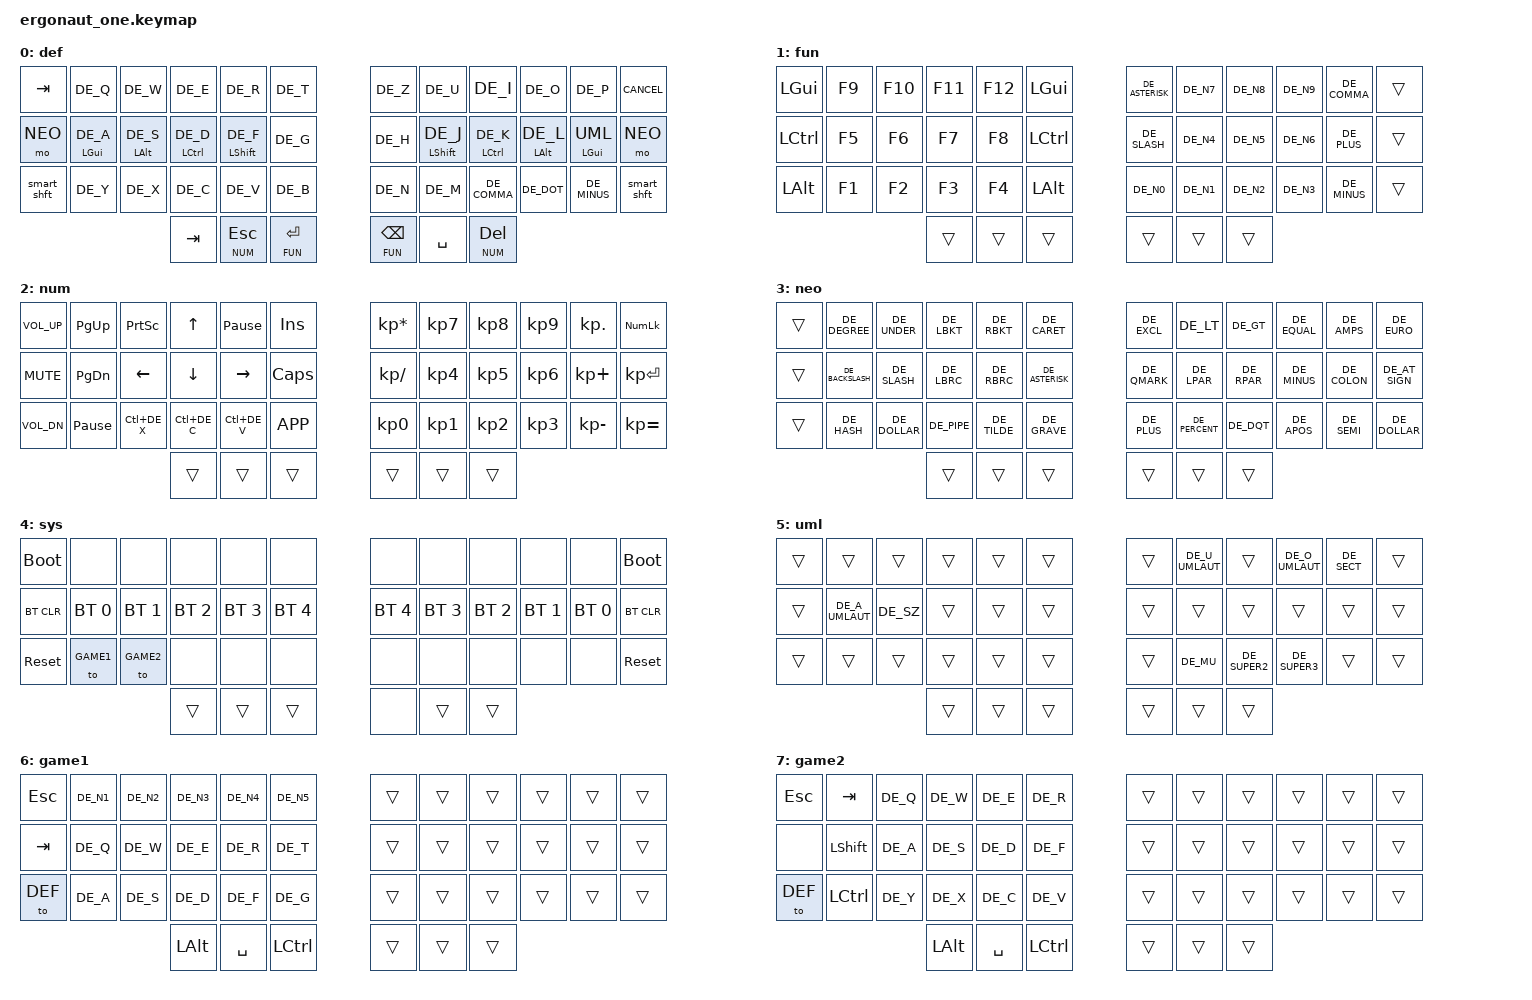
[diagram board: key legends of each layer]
#ifndef KEYMAP_DRAWER
#include "keys_de.h"
#endif

#include <behaviors.dtsi>
#include <dt-bindings/zmk/bt.h>
#include <dt-bindings/zmk/keys.h>
#include "zmk-helpers/helper.h"
#include "zmk-helpers/key-labels/42.h"

//-------------------------------------------------------------------------------------------------------------------//
//              Layer definitions                                                                                    //
//-------------------------------------------------------------------------------------------------------------------//

#define DEF 0
#define FUN 1
#define NUM 2
#define NEO 3
#define SYS 4
#define UML 5
#define GAME1 6
#define GAME2 7

//-------------------------------------------------------------------------------------------------------------------//
//              Global configuration                                                                                 //
//-------------------------------------------------------------------------------------------------------------------//

&lt {
    flavor = "balanced";
    tapping-term-ms = <200>;
    quick-tap-ms = <175>;
};

&mt { quick-tap-ms = <200>; };

//-------------------------------------------------------------------------------------------------------------------//
//              Homerow mods                                                                                         //
//-------------------------------------------------------------------------------------------------------------------//

#define KEYS_L LT0 LT1 LT2 LT3 LT4 LT5 LM0 LM1 LM2 LM3 LM4 LM5 LB0 LB1 LB2 LB3 LB4 LB5 // left hand
#define KEYS_R RT0 RT1 RT2 RT3 RT4 RT5 RM0 RM1 RM2 RM3 RM4 RM5 RB0 RB1 RB2 RB3 RB4 RB5 // right hand
#define THUMBS LH2 LH1 LH0 RH0 RH1 RH2                                                 // thumbs

#define MAKE_HRM(NAME, HOLD, TAP, TRIGGER_POS)               \
    ZMK_HOLD_TAP(NAME,                                       \
                 flavor = "balanced";                        \
                 tapping-term-ms = <280>;                    \
                 quick-tap-ms = <175>;                       \
                 require-prior-idle-ms = <150>;              \
                 bindings = <HOLD>, <TAP>;                   \
                 hold-trigger-key-positions = <TRIGGER_POS>; \
                 hold-trigger-on-release;                    \
                 )

MAKE_HRM(hml, &kp, &kp, KEYS_R THUMBS) // left-hand HRMs
MAKE_HRM(hmr, &kp, &kp, KEYS_L THUMBS) // right-hand HRMs

MAKE_HRM(hmr_sl, &kp, &sl, KEYS_L THUMBS)

//-------------------------------------------------------------------------------------------------------------------//
//              Smart shift, tap dance                                                                               //
//-------------------------------------------------------------------------------------------------------------------//

// tap: sticky-shift | shift + tap/ double-tap: caps-word | hold: shift
&caps_word {
    continue-list = <DE_UNDER DE_MINUS BSPC>;
};
ZMK_MOD_MORPH(smart_shft,
    bindings = <&sk LSHFT>, <&caps_word>;
    mods = <(MOD_LSFT)>;
)

//-------------------------------------------------------------------------------------------------------------------//
//              Layout                                                                                               //
//-------------------------------------------------------------------------------------------------------------------//

ZMK_CONDITIONAL_LAYER(FUN NUM, SYS)

ZMK_LAYER(def,
// ╭──────────────────┬──────────────────┬──────────────────┬──────────────────┬──────────────────┬──────────────────╮   ╭──────────────────┬──────────────────┬──────────────────┬──────────────────┬──────────────────┬──────────────────╮
    &kp TAB            &kp DE_Q           &kp DE_W           &kp DE_E           &kp DE_R           &kp DE_T               &kp DE_Z           &kp DE_U           &kp DE_I           &kp DE_O           &kp DE_P           &kp K_CANCEL
// ├──────────────────┼──────────────────┼──────────────────┼──────────────────┼──────────────────┼──────────────────┤   ├──────────────────┼──────────────────┼──────────────────┼──────────────────┼──────────────────┼──────────────────┤
    &mo NEO            &hml LGUI DE_A     &hml LALT DE_S     &hml LCTRL DE_D    &hml LSHFT DE_F    &kp DE_G               &kp DE_H           &hmr LSHFT DE_J    &hmr LCTRL DE_K    &hmr LALT DE_L     &hmr_sl LGUI UML   &mo NEO 
// ├──────────────────┼──────────────────┼──────────────────┼──────────────────┼──────────────────┼──────────────────┤   ├──────────────────┼──────────────────┼──────────────────┼──────────────────┼──────────────────┼──────────────────┤
    &smart_shft        &kp DE_Y           &kp DE_X           &kp DE_C           &kp DE_V           &kp DE_B               &kp DE_N           &kp DE_M           &kp DE_COMMA       &kp DE_DOT         &kp DE_MINUS       &smart_shft
// ╰──────────────────┴──────────────────┴──────────────────┼──────────────────┼──────────────────┼──────────────────┤   ├──────────────────┼──────────────────┼──────────────────┼──────────────────┴──────────────────┴──────────────────╯
                                                             &kp TAB            &lt NUM ESC        &lt FUN RET            &lt FUN BSPC       &kp SPACE          &lt NUM DEL
//                                                          ╰──────────────────┴──────────────────┴──────────────────╯   ╰──────────────────┴──────────────────┴──────────────────╯
)

ZMK_LAYER(fun,
// ╭──────────────────┬──────────────────┬──────────────────┬──────────────────┬──────────────────┬──────────────────╮   ╭──────────────────┬──────────────────┬──────────────────┬──────────────────┬──────────────────┬──────────────────╮
    &kp LGUI           &kp F9             &kp F10            &kp F11            &kp F12            &kp LGUI               &kp DE_ASTERISK    &kp DE_N7          &kp DE_N8          &kp DE_N9          &kp DE_COMMA       &trans 
// ├──────────────────┼──────────────────┼──────────────────┼──────────────────┼──────────────────┼──────────────────┤   ├──────────────────┼──────────────────┼──────────────────┼──────────────────┼──────────────────┼──────────────────┤
    &kp LCTRL          &kp F5             &kp F6             &kp F7             &kp F8             &kp LCTRL              &kp DE_SLASH       &kp DE_N4          &kp DE_N5          &kp DE_N6          &kp DE_PLUS        &trans 
// ├──────────────────┼──────────────────┼──────────────────┼──────────────────┼──────────────────┼──────────────────┤   ├──────────────────┼──────────────────┼──────────────────┼──────────────────┼──────────────────┼──────────────────┤
    &kp LALT           &kp F1             &kp F2             &kp F3             &kp F4             &kp LALT               &kp DE_N0          &kp DE_N1          &kp DE_N2          &kp DE_N3          &kp DE_MINUS       &trans 
// ╰──────────────────┴──────────────────┴──────────────────┼──────────────────┼──────────────────┼──────────────────┤   ├──────────────────┼──────────────────┼──────────────────┼──────────────────┴──────────────────┴──────────────────╯
                                                             &trans             &trans             &trans                 &trans             &trans             &trans
//                                                          ╰──────────────────┴──────────────────┴──────────────────╯   ╰──────────────────┴──────────────────┴──────────────────╯
)

ZMK_LAYER(num,
// ╭──────────────────┬──────────────────┬──────────────────┬──────────────────┬──────────────────┬──────────────────╮   ╭──────────────────┬──────────────────┬──────────────────┬──────────────────┬──────────────────┬──────────────────╮
    &kp C_VOL_UP       &kp PG_UP          &kp PSCRN          &kp UP             &kp PAUSE_BREAK    &kp INSERT             &kp KP_MULTIPLY    &kp KP_N7          &kp KP_N8          &kp KP_N9          &kp KP_DOT         &kp KP_NUM
// ├──────────────────┼──────────────────┼──────────────────┼──────────────────┼──────────────────┼──────────────────┤   ├──────────────────┼──────────────────┼──────────────────┼──────────────────┼──────────────────┼──────────────────┤
    &kp C_MUTE         &kp PG_DN          &kp LEFT           &kp DOWN           &kp RIGHT          &kp CLCK               &kp KP_DIVIDE      &kp KP_N4          &kp KP_N5          &kp KP_N6          &kp KP_PLUS        &kp KP_ENTER
// ├──────────────────┼──────────────────┼──────────────────┼──────────────────┼──────────────────┼──────────────────┤   ├──────────────────┼──────────────────┼──────────────────┼──────────────────┼──────────────────┼──────────────────┤
    &kp C_VOL_DN       &kp PAUSE_BREAK    &kp LC(DE_X)       &kp LC(DE_C)       &kp LC(DE_V)       &kp K_APP              &kp KP_N0          &kp KP_N1          &kp KP_N2          &kp KP_N3          &kp KP_MINUS       &kp KP_EQUAL
// ╰──────────────────┴──────────────────┴──────────────────┼──────────────────┼──────────────────┼──────────────────┤   ├──────────────────┼──────────────────┼──────────────────┼──────────────────┴──────────────────┴──────────────────╯
                                                             &trans             &trans             &trans                 &trans             &trans             &trans
//                                                          ╰──────────────────┴──────────────────┴──────────────────╯   ╰──────────────────┴──────────────────┴──────────────────╯
)

ZMK_LAYER(neo,
// ╭──────────────────┬──────────────────┬──────────────────┬──────────────────┬──────────────────┬──────────────────╮   ╭──────────────────┬──────────────────┬──────────────────┬──────────────────┬──────────────────┬──────────────────╮
    &trans             &kp DE_DEGREE      &kp DE_UNDER       &kp DE_LBKT        &kp DE_RBKT        &kp DE_CARET           &kp DE_EXCL        &kp DE_LT          &kp DE_GT          &kp DE_EQUAL       &kp DE_AMPS        &kp DE_EURO
// ├──────────────────┼──────────────────┼──────────────────┼──────────────────┼──────────────────┼──────────────────┤   ├──────────────────┼──────────────────┼──────────────────┼──────────────────┼──────────────────┼──────────────────┤
    &trans             &kp DE_BACKSLASH   &kp DE_SLASH       &kp DE_LBRC        &kp DE_RBRC        &kp DE_ASTERISK        &kp DE_QMARK       &kp DE_LPAR        &kp DE_RPAR        &kp DE_MINUS       &kp DE_COLON       &kp DE_AT_SIGN
// ├──────────────────┼──────────────────┼──────────────────┼──────────────────┼──────────────────┼──────────────────┤   ├──────────────────┼──────────────────┼──────────────────┼──────────────────┼──────────────────┼──────────────────┤
    &trans             &kp DE_HASH        &kp DE_DOLLAR      &kp DE_PIPE        &kp DE_TILDE       &kp DE_GRAVE           &kp DE_PLUS        &kp DE_PERCENT     &kp DE_DQT         &kp DE_APOS        &kp DE_SEMI        &kp DE_DOLLAR
// ╰──────────────────┴──────────────────┴──────────────────┼──────────────────┼──────────────────┼──────────────────┤   ├──────────────────┼──────────────────┼──────────────────┼──────────────────┴──────────────────┴──────────────────╯
                                                             &trans             &trans             &trans                 &trans             &trans             &trans
//                                                          ╰──────────────────┴──────────────────┴──────────────────╯   ╰──────────────────┴──────────────────┴──────────────────╯
)

ZMK_LAYER(sys,
// ╭──────────────────┬──────────────────┬──────────────────┬──────────────────┬──────────────────┬──────────────────╮   ╭──────────────────┬──────────────────┬──────────────────┬──────────────────┬──────────────────┬──────────────────╮
    &bootloader        &none              &none              &none              &none              &none                  &none              &none              &none              &none              &none              &bootloader
// ├──────────────────┼──────────────────┼──────────────────┼──────────────────┼──────────────────┼──────────────────┤   ├──────────────────┼──────────────────┼──────────────────┼──────────────────┼──────────────────┼──────────────────┤
    &bt BT_CLR         &bt BT_SEL 0       &bt BT_SEL 1       &bt BT_SEL 2       &bt BT_SEL 3       &bt BT_SEL 4           &bt BT_SEL 4       &bt BT_SEL 3       &bt BT_SEL 2       &bt BT_SEL 1       &bt BT_SEL 0       &bt BT_CLR
// ├──────────────────┼──────────────────┼──────────────────┼──────────────────┼──────────────────┼──────────────────┤   ├──────────────────┼──────────────────┼──────────────────┼──────────────────┼──────────────────┼──────────────────┤
    &sys_reset         &to GAME1          &to GAME2          &none              &none              &none                  &none              &none              &none              &none              &none              &sys_reset
// ╰──────────────────┴──────────────────┴──────────────────┼──────────────────┼──────────────────┼──────────────────┤   ├──────────────────┼──────────────────┼──────────────────┼──────────────────┴──────────────────┴──────────────────╯
                                                             &trans             &trans             &trans                 &none              &trans             &trans
//                                                          ╰──────────────────┴──────────────────┴──────────────────╯   ╰──────────────────┴──────────────────┴──────────────────╯
)

ZMK_LAYER(uml,
// ╭──────────────────┬──────────────────┬──────────────────┬──────────────────┬──────────────────┬──────────────────╮   ╭──────────────────┬──────────────────┬──────────────────┬──────────────────┬──────────────────┬──────────────────╮
    &trans             &trans             &trans             &trans             &trans             &trans                 &trans             &kp DE_U_UMLAUT    &trans             &kp DE_O_UMLAUT    &kp DE_SECT        &trans
// ├──────────────────┼──────────────────┼──────────────────┼──────────────────┼──────────────────┼──────────────────┤   ├──────────────────┼──────────────────┼──────────────────┼──────────────────┼──────────────────┼──────────────────┤
    &trans             &kp DE_A_UMLAUT    &kp DE_SZ          &trans             &trans             &trans                 &trans             &trans             &trans             &trans             &trans             &trans
// ├──────────────────┼──────────────────┼──────────────────┼──────────────────┼──────────────────┼──────────────────┤   ├──────────────────┼──────────────────┼──────────────────┼──────────────────┼──────────────────┼──────────────────┤
    &trans             &trans             &trans             &trans             &trans             &trans                 &trans             &kp DE_MU          &kp DE_SUPER2      &kp DE_SUPER3      &trans             &trans
// ╰──────────────────┴──────────────────┴──────────────────┼──────────────────┼──────────────────┼──────────────────┤   ├──────────────────┼──────────────────┼──────────────────┼──────────────────┴──────────────────┴──────────────────╯
                                                             &trans             &trans             &trans                 &trans             &trans             &trans
//                                                          ╰──────────────────┴──────────────────┴──────────────────╯   ╰──────────────────┴──────────────────┴──────────────────╯
)

ZMK_LAYER(game1,
// ╭──────────────────┬──────────────────┬──────────────────┬──────────────────┬──────────────────┬──────────────────╮   ╭──────────────────┬──────────────────┬──────────────────┬──────────────────┬──────────────────┬──────────────────╮
    &kp ESC            &kp DE_N1          &kp DE_N2          &kp DE_N3          &kp DE_N4          &kp DE_N5              &trans             &trans             &trans             &trans             &trans             &trans
// ├──────────────────┼──────────────────┼──────────────────┼──────────────────┼──────────────────┼──────────────────┤   ├──────────────────┼──────────────────┼──────────────────┼──────────────────┼──────────────────┼──────────────────┤
    &kp TAB            &kp DE_Q           &kp DE_W           &kp DE_E           &kp DE_R           &kp DE_T               &trans             &trans             &trans             &trans             &trans             &trans
// ├──────────────────┼──────────────────┼──────────────────┼──────────────────┼──────────────────┼──────────────────┤   ├──────────────────┼──────────────────┼──────────────────┼──────────────────┼──────────────────┼──────────────────┤
    &to DEF            &kp DE_A           &kp DE_S           &kp DE_D           &kp DE_F           &kp DE_G               &trans             &trans             &trans             &trans             &trans             &trans
// ╰──────────────────┴──────────────────┴──────────────────┼──────────────────┼──────────────────┼──────────────────┤   ├──────────────────┼──────────────────┼──────────────────┼──────────────────┴──────────────────┴──────────────────╯
                                                             &kp LALT           &kp SPACE          &kp LCTRL              &trans             &trans             &trans
//                                                          ╰──────────────────┴──────────────────┴──────────────────╯   ╰──────────────────┴──────────────────┴──────────────────╯
)

ZMK_LAYER(game2,
// ╭──────────────────┬──────────────────┬──────────────────┬──────────────────┬──────────────────┬──────────────────╮   ╭──────────────────┬──────────────────┬──────────────────┬──────────────────┬──────────────────┬──────────────────╮
    &kp ESC            &kp TAB            &kp DE_Q           &kp DE_W           &kp DE_E           &kp DE_R               &trans             &trans             &trans             &trans             &trans             &trans
// ├──────────────────┼──────────────────┼──────────────────┼──────────────────┼──────────────────┼──────────────────┤   ├──────────────────┼──────────────────┼──────────────────┼──────────────────┼──────────────────┼──────────────────┤
    &none              &kp LSHIFT         &kp DE_A           &kp DE_S           &kp DE_D           &kp DE_F               &trans             &trans             &trans             &trans             &trans             &trans
// ├──────────────────┼──────────────────┼──────────────────┼──────────────────┼──────────────────┼──────────────────┤   ├──────────────────┼──────────────────┼──────────────────┼──────────────────┼──────────────────┼──────────────────┤
    &to DEF            &kp LCTRL          &kp DE_Y           &kp DE_X           &kp DE_C           &kp DE_V               &trans             &trans             &trans             &trans             &trans             &trans
// ╰──────────────────┴──────────────────┴──────────────────┼──────────────────┼──────────────────┼──────────────────┤   ├──────────────────┼──────────────────┼──────────────────┼──────────────────┴──────────────────┴──────────────────╯
                                                             &kp LALT           &kp SPACE          &kp LCTRL              &trans             &trans             &trans
//                                                          ╰──────────────────┴──────────────────┴──────────────────╯   ╰──────────────────┴──────────────────┴──────────────────╯
)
